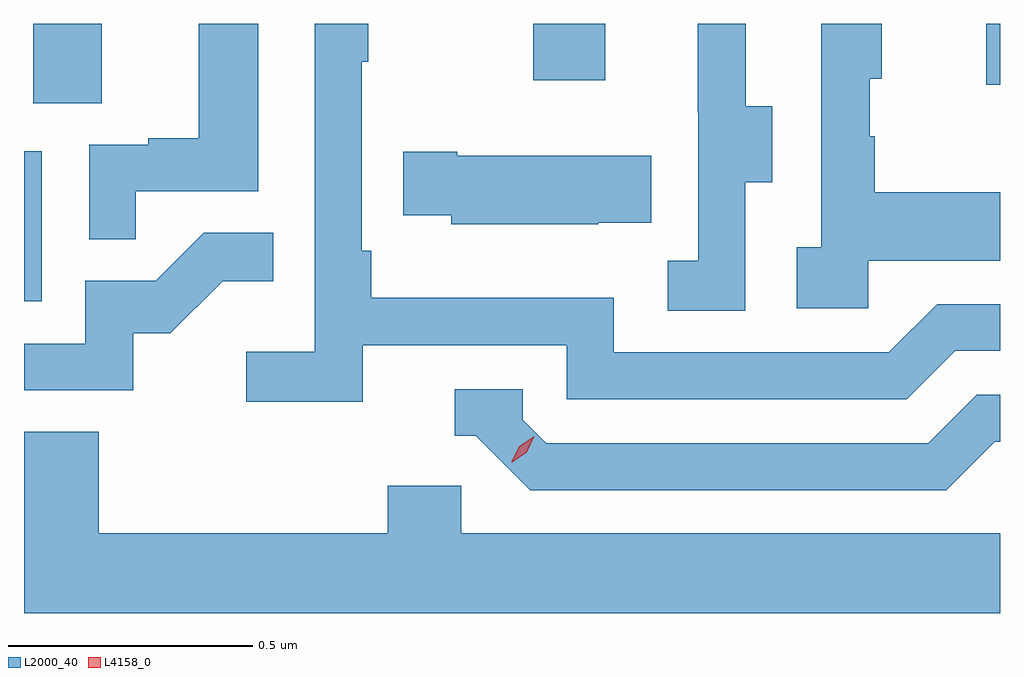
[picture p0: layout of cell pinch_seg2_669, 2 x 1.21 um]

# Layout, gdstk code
import gdstk
lib = gdstk.Library(unit=1e-6, precision=1e-09)
def R(c, l, rs):  # rectangles x0, y0, x1, y1
    for r in rs: c.add(gdstk.rectangle(r[:2], r[2:], *l))
def P(c, l, *ps):  # polygons
    for p in ps: c.add(gdstk.Polygon(p, *l))
L2000_40 = (2000, 40)
L4158_0 = (4158, 0)

pinch_seg2_669 = lib.new_cell('pinch_seg2_669')
R(pinch_seg2_669, L2000_40, [(1036.354,589.668,1036.39,589.975), (1036.373,590.074,1036.513,590.237), (1038.326,590.112,1038.354,590.237), (1037.398,590.121,1037.545,590.237)])
P(pinch_seg2_669, L2000_40, [(1036.583,589.893),(1036.834,589.893),(1036.834,590.237),(1036.712,590.237),(1036.712,590.002),(1036.609,590.002),(1036.609,589.989),(1036.488,589.989),(1036.488,589.795),(1036.583,589.795)],
  [(1038.084,589.751),(1038.354,589.751),(1038.354,589.891),(1038.097,589.891),(1038.097,590.006),(1038.087,590.006),(1038.087,590.124),(1038.112,590.124),(1038.112,590.237),(1037.988,590.237),(1037.988,589.778),(1037.937,589.778),(1037.937,589.653),(1038.084,589.653)],
  [(1037.048,589.578),(1037.466,589.578),(1037.466,589.467),(1038.163,589.467),(1038.262,589.566),(1038.354,589.566),(1038.354,589.662),(1038.225,589.662),(1038.126,589.563),(1037.562,589.563),(1037.562,589.675),(1037.066,589.675),(1037.066,589.771),(1037.046,589.771),(1037.046,590.159),(1037.059,590.159),(1037.059,590.237),(1036.95,590.237),(1036.95,589.564),(1036.809,589.564),(1036.809,589.462),(1037.048,589.462)],
  [(1037.832,589.912),(1037.887,589.912),(1037.887,590.067),(1037.833,590.067),(1037.833,590.237),(1037.735,590.237),(1037.735,590.055),(1037.736,590.055),(1037.736,589.751),(1037.673,589.751),(1037.673,589.648),(1037.832,589.648)],
  [(1037.531,589.829),(1037.639,589.829),(1037.639,589.966),(1037.242,589.966),(1037.242,589.974),(1037.131,589.974),(1037.131,589.844),(1037.229,589.844),(1037.229,589.826),(1037.531,589.826)],
  [(1036.578,589.602),(1036.654,589.602),(1036.761,589.709),(1036.865,589.709),(1036.865,589.808),(1036.722,589.808),(1036.624,589.71),(1036.479,589.71),(1036.479,589.581),(1036.354,589.581),(1036.354,589.485),(1036.578,589.485)],
  [(1038.343,589.38),(1038.354,589.38),(1038.354,589.476),(1038.306,589.476),(1038.207,589.377),(1037.424,589.377),(1037.376,589.425),(1037.376,589.488),(1037.237,589.488),(1037.237,589.392),(1037.28,589.392),(1037.391,589.281),(1038.244,589.281)],
  [(1038.354,589.192),(1037.25,589.192),(1037.25,589.29),(1037.099,589.29),(1037.099,589.192),(1036.507,589.192),(1036.507,589.4),(1036.354,589.4),(1036.354,589.028),(1038.354,589.028)])
P(pinch_seg2_669, L4158_0, [(1037.353,589.338),(1037.353,589.339),(1037.369,589.371),(1037.4,589.391),(1037.4,589.391),(1037.4,589.391),(1037.384,589.358),(1037.354,589.338)])

lib.write_gds('pinch_seg2_669.gds')
